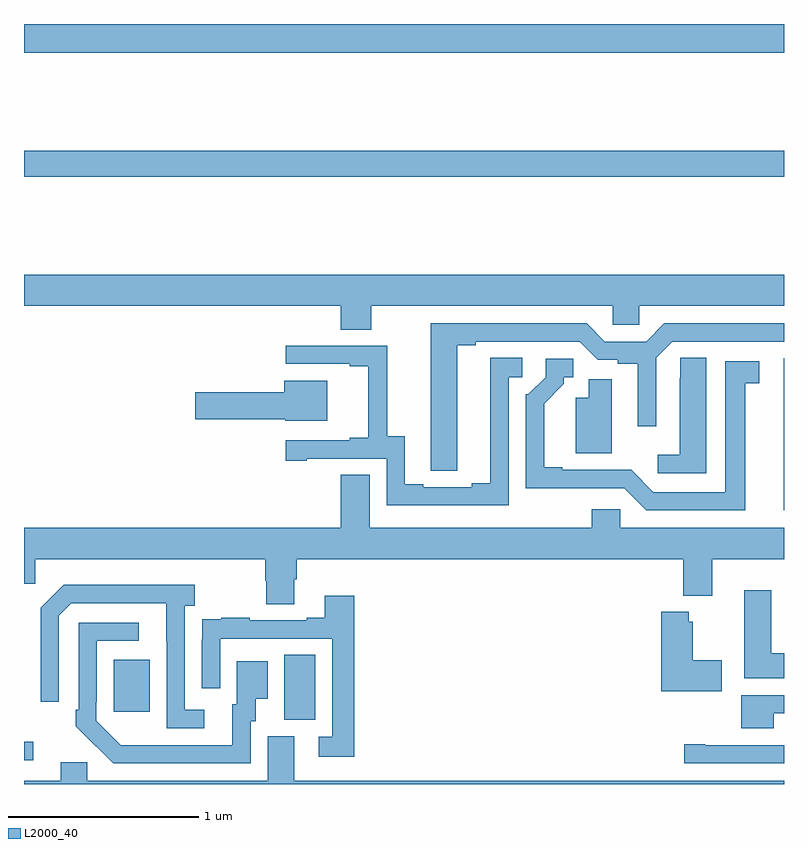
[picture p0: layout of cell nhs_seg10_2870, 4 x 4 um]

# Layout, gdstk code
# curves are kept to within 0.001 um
import gdstk
lib = gdstk.Library(unit=1e-6, precision=1e-09)
def R(c, l, rs):  # rectangles x0, y0, x1, y1
    for r in rs: c.add(gdstk.rectangle(r[:2], r[2:], *l))
def P(c, l, *ps):  # polygons
    for p in ps: c.add(gdstk.Polygon(p, *l))
L2000_40 = (2000, 40)

nhs_seg10_2870 = lib.new_cell('nhs_seg10_2870')
R(nhs_seg10_2870, L2000_40, [(267,1264.626,267.049,1264.723), (268.37,1264.837,268.534,1265.18), (267.473,1264.881,267.661,1265.155), (270.998,1265.94,271,1266.742), (267,1267.696,271,1267.832), (267,1268.348,271,1268.5)])
P(nhs_seg10_2870, L2000_40, [(268.827,1267.016),(270.099,1267.016),(270.099,1266.918),(270.237,1266.918),(270.237,1267.016),(271,1267.016),(271,1267.18),(267,1267.18),(267,1267.016),(268.667,1267.016),(268.667,1266.892),(268.827,1266.892)],
  [(269.281,1266.808),(269.377,1266.808),(269.377,1266.828),(269.925,1266.828),(270.021,1266.732),(270.126,1266.732),(270.126,1266.712),(270.23,1266.712),(270.23,1266.384),(270.327,1266.384),(270.327,1266.744),(270.411,1266.828),(271,1266.828),(271,1266.924),(270.371,1266.924),(270.275,1266.828),(270.057,1266.828),(269.961,1266.924),(269.141,1266.924),(269.142,1266.148),(269.281,1266.148)],
  [(269.55,1266.642),(269.623,1266.642),(269.623,1266.743),(269.453,1266.743),(269.453,1266.083),(269.357,1266.083),(269.357,1266.063),(269.101,1266.063),(269.101,1266.078),(269.005,1266.078),(269.005,1266.329),(268.911,1266.329),(268.911,1266.807),(268.377,1266.807),(268.377,1266.711),(268.715,1266.711),(268.715,1266.699),(268.811,1266.699),(268.811,1266.322),(268.715,1266.322),(268.715,1266.309),(268.377,1266.309),(268.377,1266.201),(268.489,1266.201),(268.489,1266.213),(268.908,1266.213),(268.908,1265.967),(269.55,1265.967)],
  [(270.592,1266.743),(270.453,1266.743),(270.453,1266.635),(270.452,1266.635),(270.452,1266.232),(270.336,1266.232),(270.336,1266.135),(270.592,1266.135)],
  [(270.796,1266.61),(270.871,1266.61),(270.871,1266.726),(270.692,1266.726),(270.692,1266.036),(270.312,1266.036),(270.195,1266.153),(269.833,1266.153),(269.833,1266.166),(269.737,1266.166),(269.737,1266.502),(269.842,1266.607),(269.842,1266.642),(269.892,1266.642),(269.892,1266.738),(269.745,1266.738),(269.745,1266.642),(269.655,1266.552),(269.64,1266.552),(269.64,1266.056),(270.159,1266.057),(270.276,1265.94),(270.796,1265.94)],
  [(270.094,1266.63),(269.972,1266.63),(269.972,1266.532),(269.903,1266.532),(269.903,1266.242),(270.094,1266.242)],
  [(268.597,1266.622),(268.37,1266.622),(268.37,1266.561),(267.9,1266.561),(267.9,1266.419),(268.374,1266.419),(268.374,1266.413),(268.597,1266.413)],
  [(268.423,1265.578),(268.436,1265.578),(268.436,1265.684),(270.47,1265.684),(270.47,1265.492),(270.622,1265.492),(270.622,1265.684),(271,1265.684),(271,1265.848),(270.138,1265.848),(270.138,1265.946),(269.987,1265.946),(269.987,1265.848),(268.819,1265.848),(268.819,1266.128),(268.667,1266.128),(268.667,1265.848),(267,1265.848),(267,1265.553),(267.06,1265.553),(267.06,1265.684),(268.271,1265.684),(268.271,1265.571),(268.276,1265.571),(268.276,1265.446),(268.423,1265.446)],
  [(267.949,1264.89),(267.846,1264.89),(267.846,1265.438),(267.898,1265.438),(267.898,1265.548),(267.208,1265.548),(267.087,1265.427),(267.087,1264.932),(267.183,1264.932),(267.183,1265.385),(267.249,1265.451),(267.749,1265.451),(267.75,1264.794),(267.949,1264.794)],
  [(271,1265.188),(270.934,1265.188),(270.934,1265.521),(270.791,1265.521),(270.791,1265.057),(271,1265.057)],
  [(268.739,1265.491),(268.583,1265.491),(268.583,1265.374),(268.487,1265.374),(268.487,1265.361),(268.187,1265.361),(268.187,1265.374),(268.039,1265.374),(268.039,1265.367),(267.937,1265.367),(267.937,1265.258),(267.936,1265.258),(267.936,1265.004),(268.032,1265.004),(268.032,1265.265),(268.623,1265.265),(268.623,1264.749),(268.551,1264.749),(268.551,1264.644),(268.739,1264.644)],
  [(270.673,1265.151),(270.52,1265.151),(270.52,1265.353),(270.498,1265.353),(270.498,1265.407),(270.353,1265.407),(270.353,1264.988),(270.673,1264.988)],
  [(268.194,1264.83),(268.219,1264.83),(268.219,1264.949),(268.282,1264.949),(268.282,1265.146),(268.121,1265.146),(268.121,1264.92),(268.097,1264.92),(268.097,1264.704),(267.51,1264.705),(267.381,1264.833),(267.381,1264.933),(267.384,1264.933),(267.384,1265.253),(267.604,1265.253),(267.604,1265.349),(267.288,1265.349),(267.288,1264.891),(267.273,1264.891),(267.273,1264.803),(267.47,1264.608),(268.194,1264.608)],
  [(270.946,1264.872),(271,1264.872),(271,1264.968),(270.776,1264.968),(270.776,1264.793),(270.946,1264.793)],
  [(271,1264.516),(268.423,1264.516),(268.423,1264.752),(268.283,1264.752),(268.283,1264.516),(267.333,1264.516),(267.333,1264.614),(267.194,1264.614),(267.194,1264.516),(267,1264.516),(267,1264.5),(271,1264.5)],
  [(271,1264.704),(270.586,1264.704),(270.586,1264.709),(270.474,1264.709),(270.474,1264.608),(271,1264.608)])

lib.write_gds('nhs_seg10_2870.gds')
